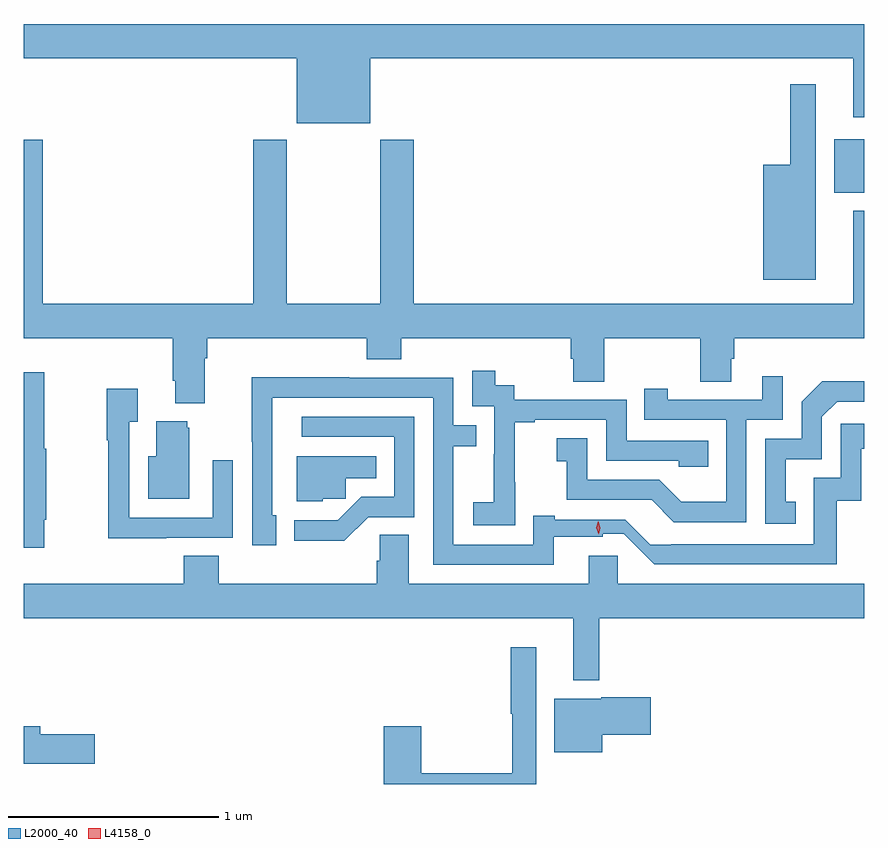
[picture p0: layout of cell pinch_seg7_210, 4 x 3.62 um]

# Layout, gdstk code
import gdstk
lib = gdstk.Library(unit=1e-6, precision=1e-09)
def R(c, l, rs):  # rectangles x0, y0, x1, y1
    for r in rs: c.add(gdstk.rectangle(r[:2], r[2:], *l))
def P(c, l, *ps):  # polygons
    for p in ps: c.add(gdstk.Polygon(p, *l))
L2000_40 = (2000, 40)
L4158_0 = (4158, 0)

pinch_seg7_210 = lib.new_cell('pinch_seg7_210')
R(pinch_seg7_210, L2000_40, [(713.819,1079.897,713.961,1080.151)])
P(pinch_seg7_210, L2000_40, [(711.61,1080.536),(713.909,1080.536),(713.909,1080.255),(713.961,1080.255),(713.961,1080.7),(709.961,1080.7),(709.961,1080.536),(711.26,1080.536),(711.26,1080.227),(711.61,1080.227)],
  [(713.731,1080.412),(713.61,1080.412),(713.61,1080.031),(713.48,1080.031),(713.48,1079.483),(713.731,1079.483)],
  [(710.821,1079.108),(710.834,1079.108),(710.834,1079.204),(711.593,1079.204),(711.593,1079.105),(711.758,1079.105),(711.758,1079.204),(712.565,1079.204),(712.565,1079.106),(712.577,1079.106),(712.577,1078.996),(712.725,1078.996),(712.725,1079.204),(713.182,1079.204),(713.182,1078.996),(713.329,1078.996),(713.329,1079.106),(713.342,1079.106),(713.342,1079.204),(713.961,1079.204),(713.961,1079.812),(713.909,1079.812),(713.909,1079.368),(711.818,1079.368),(711.818,1080.148),(711.658,1080.148),(711.658,1079.368),(711.213,1079.368),(711.213,1080.148),(711.053,1080.148),(711.053,1079.368),(710.051,1079.368),(710.051,1080.148),(709.961,1080.148),(709.961,1079.204),(710.669,1079.204),(710.669,1079.002),(710.681,1079.002),(710.681,1078.895),(710.821,1078.895)],
  [(712.299,1078.519),(712.298,1078.519),(712.298,1078.803),(712.393,1078.803),(712.393,1078.815),(712.734,1078.815),(712.734,1078.62),(713.079,1078.62),(713.079,1078.593),(713.219,1078.593),(713.219,1078.716),(712.83,1078.716),(712.83,1078.911),(712.296,1078.911),(712.296,1078.98),(712.204,1078.98),(712.204,1079.05),(712.095,1079.05),(712.095,1078.881),(712.2,1078.881),(712.2,1078.652),(712.199,1078.652),(712.199,1078.423),(712.101,1078.423),(712.101,1078.313),(712.299,1078.313)],
  [(710.058,1078.341),(710.068,1078.341),(710.068,1078.677),(710.058,1078.677),(710.058,1079.041),(709.961,1079.041),(709.961,1078.206),(710.058,1078.206)],
  [(713.4,1078.815),(713.574,1078.815),(713.574,1079.023),(713.477,1079.023),(713.477,1078.911),(713.026,1078.911),(713.026,1078.963),(712.915,1078.963),(712.915,1078.815),(713.304,1078.815),(713.304,1078.426),(713.09,1078.426),(712.986,1078.53),(712.644,1078.53),(712.644,1078.729),(712.497,1078.729),(712.497,1078.619),(712.546,1078.619),(712.546,1078.434),(712.95,1078.434),(713.055,1078.329),(713.4,1078.329)],
  [(712.483,1078.259),(712.716,1078.259),(712.716,1078.273),(712.816,1078.273),(712.961,1078.128),(713.83,1078.128),(713.83,1078.431),(713.948,1078.431),(713.948,1078.677),(713.961,1078.677),(713.961,1078.798),(713.85,1078.798),(713.85,1078.539),(713.721,1078.539),(713.721,1078.224),(713.043,1078.224),(713.043,1078.221),(712.943,1078.221),(712.823,1078.341),(712.489,1078.341),(712.489,1078.358),(712.386,1078.358),(712.386,1078.221),(712.005,1078.221),(712.005,1078.69),(712.115,1078.69),(712.115,1078.791),(712.005,1078.791),(712.005,1079.016),(711.509,1079.016),(711.509,1079.018),(711.046,1079.018),(711.046,1078.711),(711.048,1078.711),(711.048,1078.218),(711.163,1078.218),(711.163,1078.362),(711.144,1078.362),(711.144,1078.92),(711.909,1078.92),(711.909,1078.125),(712.483,1078.125)],
  [(713.636,1078.425),(713.587,1078.425),(713.587,1078.629),(713.76,1078.629),(713.76,1078.83),(713.832,1078.902),(713.961,1078.902),(713.961,1079),(713.762,1079),(713.664,1078.902),(713.664,1078.725),(713.49,1078.725),(713.49,1078.32),(713.636,1078.32)],
  [(710.639,1078.254),(710.955,1078.254),(710.955,1078.624),(710.859,1078.624),(710.859,1078.35),(710.463,1078.35),(710.463,1078.807),(710.503,1078.807),(710.503,1078.963),(710.355,1078.963),(710.355,1078.718),(710.362,1078.718),(710.362,1078.253),(710.639,1078.253)],
  [(711.6,1078.353),(711.819,1078.353),(711.819,1078.83),(711.285,1078.83),(711.285,1078.734),(711.723,1078.734),(711.723,1078.449),(711.566,1078.449),(711.455,1078.338),(711.248,1078.338),(711.248,1078.241),(711.487,1078.241)],
  [(710.749,1078.779),(710.738,1078.779),(710.738,1078.81),(710.591,1078.81),(710.591,1078.642),(710.552,1078.642),(710.552,1078.439),(710.749,1078.439)],
  [(711.384,1078.44),(711.493,1078.44),(711.493,1078.538),(711.638,1078.538),(711.638,1078.642),(711.26,1078.642),(711.26,1078.428),(711.384,1078.428)],
  [(712.699,1077.872),(713.961,1077.872),(713.961,1078.036),(712.788,1078.036),(712.788,1078.168),(712.649,1078.168),(712.649,1078.036),(711.793,1078.036),(711.793,1078.268),(711.654,1078.268),(711.654,1078.145),(711.641,1078.145),(711.641,1078.036),(710.888,1078.036),(710.888,1078.169),(710.723,1078.169),(710.723,1078.036),(709.961,1078.036),(709.961,1077.872),(712.577,1077.872),(712.577,1077.576),(712.699,1077.576)],
  [(712.399,1077.733),(712.278,1077.733),(712.278,1077.416),(712.285,1077.416),(712.285,1077.134),(711.852,1077.134),(711.852,1077.358),(711.674,1077.358),(711.674,1077.082),(712.399,1077.082)],
  [(712.714,1077.317),(712.945,1077.317),(712.945,1077.495),(712.71,1077.495),(712.71,1077.487),(712.487,1077.487),(712.487,1077.233),(712.714,1077.233)],
  [(710.299,1077.32),(710.038,1077.32),(710.038,1077.356),(709.961,1077.356),(709.961,1077.178),(710.299,1077.178)])
P(pinch_seg7_210, L4158_0, [(712.698,1078.27),(712.698,1078.27),(712.686,1078.302),(712.695,1078.334),(712.695,1078.334),(712.695,1078.334),(712.706,1078.303),(712.698,1078.27)])

lib.write_gds('pinch_seg7_210.gds')
